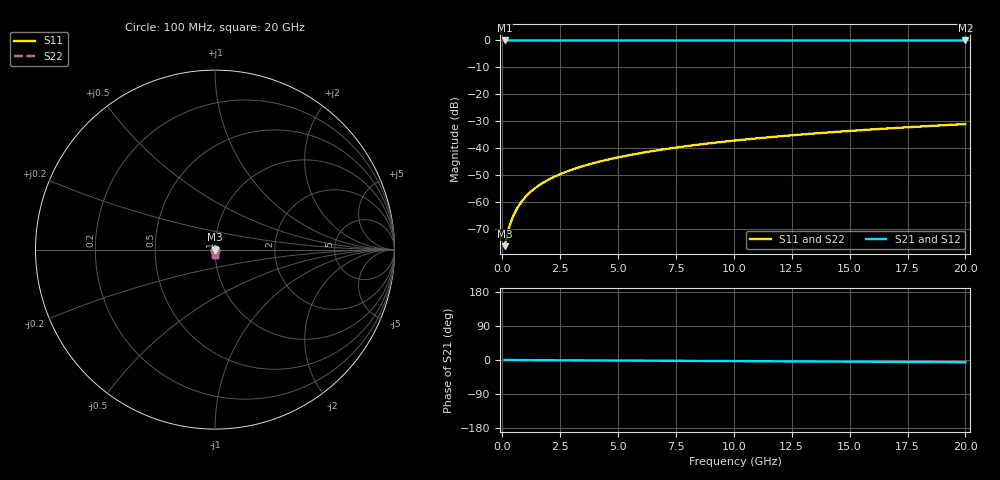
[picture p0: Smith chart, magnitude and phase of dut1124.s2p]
! Touchstone file exported from HFSS 2026.1.0
!  File:  C:/ffzhzh/LocalFiles/Ansys_Project_Files/temp_train_TSV_1124_1783191007_22436.aedt
!  Generated:  02:51:23 AM Jul  5, 2026
!  Design:  TSV
!  Project:  temp_train_TSV_1124_1783191007_22436
! Variables:
!  h_bsmrdl = 2um
!  h_ox = 20um
!  h_rdl = 5um
!  h_sub = 56.54um
!  h_tmrdl = 5um
!  h_tsv = 56.54um
!  h_via = 3um
!  l_bsmrdl = 300um
!  l_sub = 419.02um
!  l_tmrdl = 200um
!  m_sub = 200um
!  pitch = 29.55um
!  r_tsv = 9.51um
!  s_tmrdl = 10um
!  w_bsmrdl = 18um
!  w_sub = 500um
!  w_tmrdl = 12um
!  x_tsv_center1 = 206um
!  x_tsv_center2 = 524um
!  x_tsv_center3 = 736um
!  x_tsv_center4 = 1054um
!  x_tsv_center5 = 1266um
!  x_tsv_center6 = 1584um
# GHz S MA R 50.000000
! Terminal data exported
! Port[1] = TSV1_1_T1
! Port[2] = TSV1_1_T2
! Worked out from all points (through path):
!   200 points, 100 MHz to 20 GHz, reference 50 ohm
!   highest |S21| = 0.00 dB at 100 MHz (marker M1); lowest = 0.0 dB at 20 GHz (marker M2)
!   lowest |S11| = -76.4 dB at 100 MHz (marker M3), VSWR 1.00, Z = 50 - j0.0101 ohm
!   |S11| at or under -10 dB: start of sweep to end of sweep
!   |S22| runs from -76.4 to -31.0 dB; largest |S21 - S12| = 2.1e-15
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0.1  0.0001515 -41.8  0.9999 -0.0  0.9999 -0.0  0.0001515 -41.8
! Gamma 0 0 0 0
! Port Impedance 50 0 50 0
0.2  0.0002405 -58.6  0.9999 -0.1  0.9999 -0.1  0.0002405 -58.6
0.3  0.0003461 -65.6  0.9999 -0.1  0.9999 -0.1  0.0003461 -65.6
0.4  0.0004615 -69.2  0.9998 -0.1  0.9998 -0.1  0.0004615 -69.2
0.5  0.0005837 -71.6  0.9998 -0.2  0.9998 -0.2  0.0005837 -71.6
0.6  0.0007108 -73.2  0.9998 -0.2  0.9998 -0.2  0.0007108 -73.2
0.8  0.0009743 -75.8  0.9998 -0.2  0.9998 -0.2  0.0009743 -75.8
1.1  0.00138 -78.4  0.9997 -0.3  0.9997 -0.3  0.00138 -78.4
1.3  0.001653 -79.7  0.9997 -0.4  0.9997 -0.4  0.001653 -79.7
1.5  0.001926 -80.7  0.9997 -0.4  0.9997 -0.4  0.001926 -80.7
1.8  0.002335 -82.0  0.9996 -0.5  0.9996 -0.5  0.002335 -82.0
2.1  0.002745 -82.9  0.9996 -0.6  0.9996 -0.6  0.002745 -82.9
2.7  0.003566 -84.2  0.9996 -0.8  0.9996 -0.8  0.003566 -84.2
3.5  0.004667 -85.4  0.9995 -1.0  0.9995 -1.0  0.004667 -85.4
4.2  0.005636 -86.1  0.9995 -1.2  0.9995 -1.2  0.005636 -86.1
5  0.006751 -86.8  0.9994 -1.5  0.9994 -1.5  0.006751 -86.8
6.8  0.009279 -88.0  0.9993 -2.0  0.9993 -2.0  0.009279 -88.0
8.3  0.0114 -88.8  0.9992 -2.4  0.9992 -2.4  0.0114 -88.8
10.1  0.01395 -89.7  0.9991 -2.9  0.9991 -2.9  0.01395 -89.7
13.4  0.01864 -91.1  0.9989 -3.9  0.9989 -3.9  0.01864 -91.1
16.7  0.02333 -92.3  0.9987 -4.8  0.9987 -4.8  0.02333 -92.3
20  0.02804 -93.5  0.9985 -5.8  0.9985 -5.8  0.02804 -93.5
